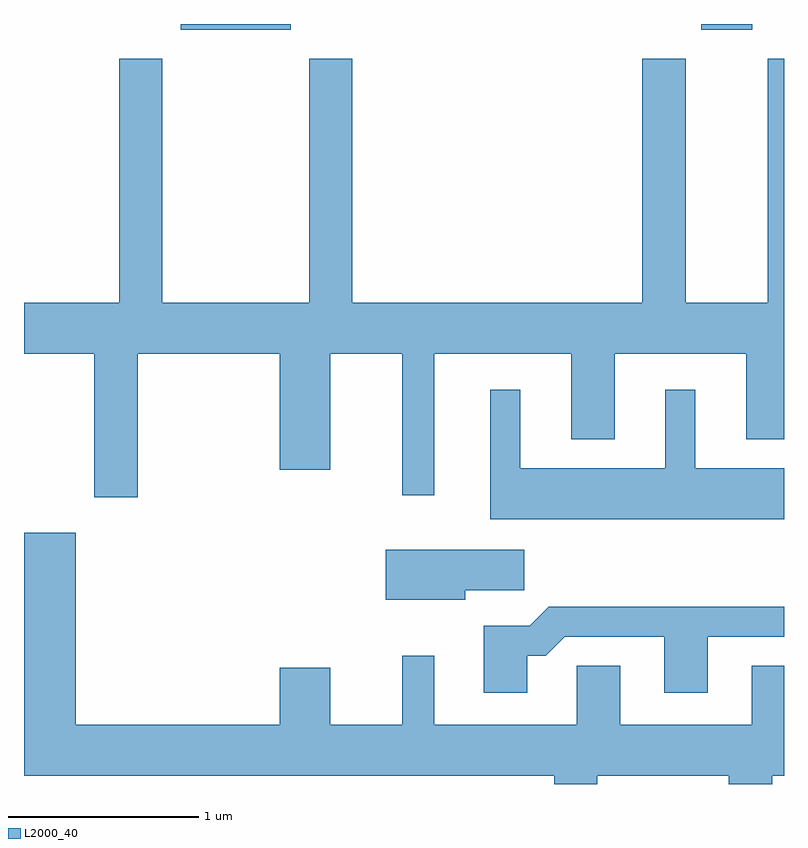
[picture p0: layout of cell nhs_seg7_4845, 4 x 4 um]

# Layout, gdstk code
import gdstk
lib = gdstk.Library(unit=1e-6, precision=1e-09)
def R(c, l, rs):  # rectangles x0, y0, x1, y1
    for r in rs: c.add(gdstk.rectangle(r[:2], r[2:], *l))
def P(c, l, *ps):  # polygons
    for p in ps: c.add(gdstk.Polygon(p, *l))
L2000_40 = (2000, 40)

nhs_seg7_4845 = lib.new_cell('nhs_seg7_4845')
R(nhs_seg7_4845, L2000_40, [(334.436,1738.221,335.014,1738.252), (337.176,1738.221,337.444,1738.252)])
P(nhs_seg7_4845, L2000_40, [(334.209,1736.516),(334.956,1736.516),(334.956,1735.906),(335.224,1735.906),(335.224,1736.516),(335.601,1736.516),(335.601,1735.773),(335.769,1735.773),(335.769,1736.516),(336.491,1736.516),(336.491,1736.066),(336.719,1736.066),(336.719,1736.516),(337.411,1736.516),(337.411,1736.066),(337.611,1736.066),(337.611,1738.069),(337.526,1738.069),(337.526,1736.784),(337.094,1736.784),(337.094,1738.069),(336.866,1738.069),(336.866,1736.784),(335.339,1736.784),(335.339,1738.069),(335.111,1738.069),(335.111,1736.784),(334.339,1736.784),(334.339,1738.069),(334.111,1738.069),(334.111,1736.784),(333.611,1736.784),(333.611,1736.516),(333.981,1736.516),(333.981,1735.761),(334.209,1735.761)],
  [(337.611,1735.914),(337.144,1735.914),(337.144,1736.328),(336.986,1736.328),(336.986,1735.914),(336.224,1735.914),(336.224,1736.328),(336.066,1736.328),(336.066,1735.646),(337.611,1735.646)],
  [(336.629,1734.296),(337.321,1734.296),(337.321,1734.252),(337.549,1734.252),(337.549,1734.296),(337.611,1734.296),(337.611,1734.874),(337.441,1734.874),(337.441,1734.564),(336.749,1734.564),(336.749,1734.874),(336.521,1734.874),(336.521,1734.564),(335.769,1734.564),(335.769,1734.928),(335.601,1734.928),(335.601,1734.564),(335.224,1734.564),(335.224,1734.864),(334.956,1734.864),(334.956,1734.564),(333.884,1734.564),(333.884,1735.574),(333.611,1735.574),(333.611,1734.296),(336.401,1734.296),(336.401,1734.252),(336.629,1734.252)],
  [(335.934,1735.271),(336.244,1735.271),(336.244,1735.484),(335.516,1735.484),(335.516,1735.221),(335.934,1735.221)],
  [(336.259,1734.926),(336.357,1734.926),(336.457,1735.026),(336.981,1735.026),(336.981,1734.731),(337.209,1734.731),(337.209,1735.026),(337.611,1735.026),(337.611,1735.184),(336.374,1735.184),(336.274,1735.084),(336.031,1735.084),(336.031,1734.731),(336.259,1734.731)])

lib.write_gds('nhs_seg7_4845.gds')
